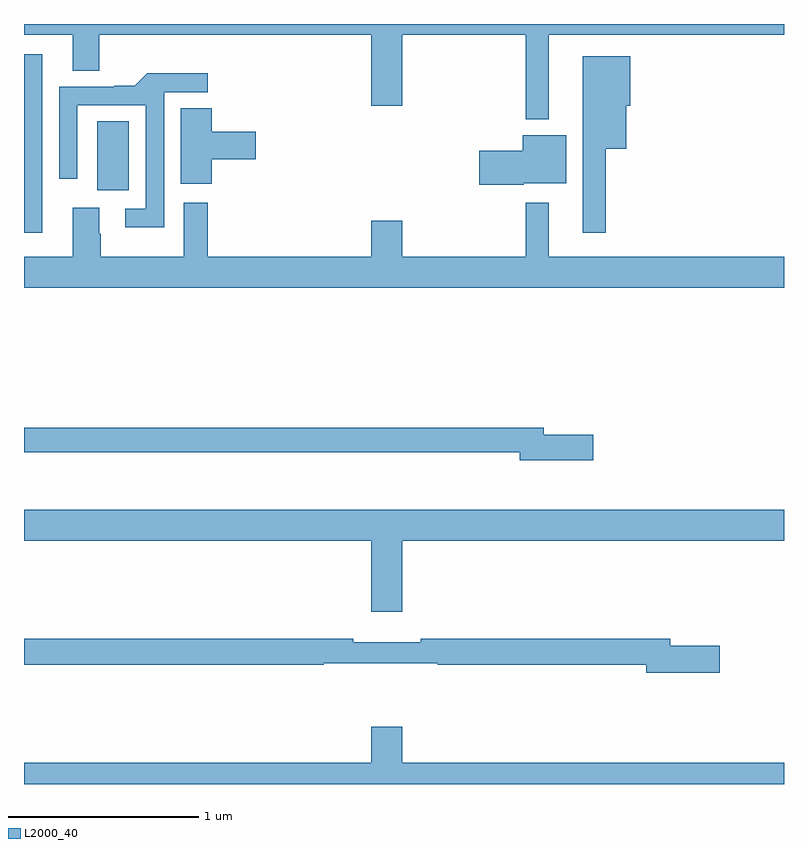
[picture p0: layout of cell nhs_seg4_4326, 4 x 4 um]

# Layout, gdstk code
import gdstk
lib = gdstk.Library(unit=1e-6, precision=1e-09)
def R(c, l, rs):  # rectangles x0, y0, x1, y1
    for r in rs: c.add(gdstk.rectangle(r[:2], r[2:], *l))
def P(c, l, *ps):  # polygons
    for p in ps: c.add(gdstk.Polygon(p, *l))
L2000_40 = (2000, 40)

nhs_seg4_4326 = lib.new_cell('nhs_seg4_4326')
R(nhs_seg4_4326, L2000_40, [(343,771.801,343.096,772.741), (343.385,772.026,343.552,772.388)])
P(nhs_seg4_4326, L2000_40, [(343,772.844),(343.256,772.844),(343.256,772.654),(343.396,772.654),(343.396,772.844),(344.828,772.844),(344.828,772.47),(344.992,772.47),(344.992,772.844),(345.642,772.844),(345.642,772.4),(345.763,772.4),(345.763,772.844),(347,772.844),(347,772.9),(343,772.9)],
  [(346.063,772.244),(346.171,772.244),(346.171,772.47),(346.192,772.47),(346.192,772.729),(345.941,772.729),(345.941,771.801),(346.063,771.801)],
  [(343.737,772.542),(343.966,772.542),(343.966,772.64),(343.649,772.64),(343.583,772.574),(343.475,772.574),(343.475,772.569),(343.185,772.569),(343.185,772.086),(343.281,772.086),(343.281,772.473),(343.641,772.473),(343.641,771.927),(343.533,771.927),(343.533,771.83),(343.737,771.83)],
  [(343.988,772.187),(344.221,772.187),(344.221,772.334),(343.988,772.334),(343.988,772.457),(343.826,772.457),(343.826,772.059),(343.988,772.059)],
  [(345.63,772.061),(345.853,772.061),(345.853,772.315),(345.626,772.315),(345.626,772.232),(345.396,772.232),(345.396,772.054),(345.63,772.054)],
  [(347,771.676),(345.763,771.676),(345.763,771.958),(345.642,771.958),(345.642,771.676),(344.992,771.676),(344.992,771.865),(344.828,771.865),(344.828,771.676),(343.967,771.676),(343.967,771.958),(343.841,771.958),(343.841,771.676),(343.404,771.676),(343.404,771.797),(343.396,771.797),(343.396,771.934),(343.256,771.934),(343.256,771.676),(343,771.676),(343,771.512),(347,771.512)],
  [(345.997,770.738),(345.736,770.738),(345.736,770.774),(343,770.774),(343,770.646),(345.608,770.646),(345.608,770.603),(345.997,770.603)],
  [(344.992,770.18),(347,770.18),(347,770.344),(343,770.344),(343,770.18),(344.828,770.18),(344.828,769.806),(344.992,769.806)],
  [(346.663,769.628),(346.402,769.628),(346.402,769.664),(345.088,769.664),(345.088,769.645),(344.732,769.645),(344.732,769.664),(343,769.664),(343,769.528),(344.578,769.528),(344.578,769.536),(345.178,769.536),(345.178,769.528),(346.274,769.528),(346.274,769.486),(346.663,769.486)],
  [(347,769.012),(344.992,769.012),(344.992,769.201),(344.828,769.201),(344.828,769.012),(343,769.012),(343,768.9),(347,768.9)])

lib.write_gds('nhs_seg4_4326.gds')
